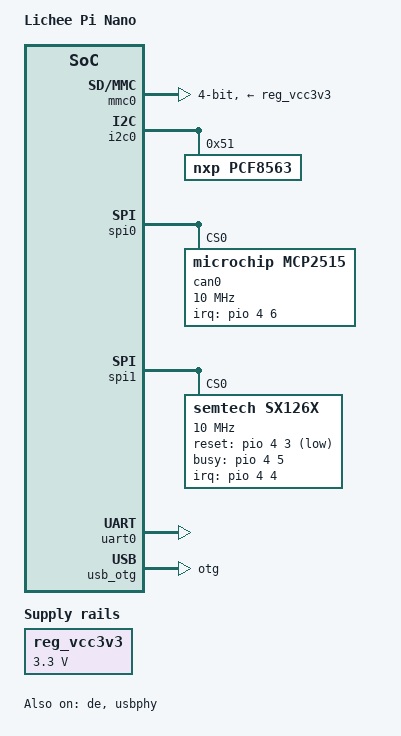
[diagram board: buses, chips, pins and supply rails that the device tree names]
// SPDX-License-Identifier: (GPL-2.0+ OR X11)
/*
 * Copyright 2023 BH1RBH <jack.tan@jackslab.org>
 */

/dts-v1/;
#include "suniv-f1c100s.dtsi"

#include <dt-bindings/gpio/gpio.h>
#include <dt-bindings/interrupt-controller/irq.h>

/ {
	model = "Lichee Pi Nano";
	compatible = "licheepi,licheepi-nano", "allwinner,suniv-f1c100s",
		     "allwinner,suniv";

	aliases {
		serial0 = &uart0;
		spi0 = &spi0;
	};

	chosen {
		stdout-path = "serial0:115200n8";
	};

	/*
	panel: panel {
		compatible = "qiaodian,qd43003c0-40", "simple-panel";
		#address-cells = <1>;
		#size-cells = <0>;
		enable-gpios = <&pio 4 6 GPIO_ACTIVE_HIGH>;

		port@0 {
			reg = <0>;
			#address-cells = <1>;
			#size-cells = <0>;

			panel_input: endpoint@0 {
				reg = <0>;
				remote-endpoint = <&tcon0_out_lcd>;
			};
		};
	};
	*/

	reg_vcc3v3: vcc3v3 {
		compatible = "regulator-fixed";
		regulator-name = "vcc3v3";
		regulator-min-microvolt = <3300000>;
		regulator-max-microvolt = <3300000>;
	};
};

&de {
	status = "okay";
};

&mmc0 {
	vmmc-supply = <&reg_vcc3v3>;
	bus-width = <4>;
	broken-cd;
	status = "okay";
};

&otg_sram {
	status = "okay";
};

&i2c0 {
	pinctrl-names = "default";
	pinctrl-0 = <&i2c0_pins>;
	status = "okay";

	pcf8563: rtc@51 {
		compatible = "nxp,pcf8563";
		reg = <0x51>;
	};
};

/*
 * PC0 -- SPI0_CLK
 * PC1 -- SPI0_CS
 * PC2 -- SPI0_MISO
 * PC3 -- SPI0_MOSI
 * PE6 -- Interrupt
 * clock-frequency = <500000> 500KHz;
*/
&spi0 {
	pinctrl-names = "default";
	pinctrl-0 = <&spi0_pins>;
	spi-max-frequency = <50000000>;
	status = "okay";

	can0: mcp2515@0 {
		compatible = "microchip,mcp2515";
		reg = <0x0>;
		clocks = <&osc24M>;
		spi-max-frequency = <10000000>;

		interrupt-parent = <&pio>;
		interrupts = <4 6 IRQ_TYPE_EDGE_RISING>;		/* PE6 */
		status = "okay";
	};
};

/*
 * PA0 -- SPI1_CS
 * PA1 -- SPI1_MOSI
 * PA2 -- SPI1_CLK
 * PA3 -- SPI1_MISO
 * PE3 -- Reset
 * PE4 -- Interrupt
 * PE5 -- LR_BUSY
*/
&spi1 {
	pinctrl-names = "default";
	pinctrl-0 = <&spi1_pins>;
	status = "okay";
	spi-max-frequency = <50000000>;

	sx126x@0 {
		#address-cells = <1>;
		#size-cells = <1>;
		spi-max-frequency = <10000000>;

		compatible = "semtech,sx126x";
		reg = <0x0>;

		reset-gpios = <&pio 4 3 GPIO_ACTIVE_LOW>;			/* PE3 */

		interrupt-parent = <&pio>;
		interrupts = <4 4 IRQ_TYPE_EDGE_RISING>;			/* PE4 / EINT3 */

		busy-gpios = <&pio 4 5 GPIO_ACTIVE_HIGH>;			/* PE5 */
	};
};

/*
&tcon0 {
	pinctrl-names = "default";
	pinctrl-0 = <&lcd_rgb666_pins>;
	status = "okay";
};

&tcon0_out {
	tcon0_out_lcd: endpoint@0 {
		reg = <0>;
		remote-endpoint = <&panel_input>;
	};
};
*/

&uart0 {
	pinctrl-names = "default";
	pinctrl-0 = <&uart0_pins>;
	status = "okay";
};

&usb_otg {
	dr_mode = "otg";
	status = "okay";
};

&usbphy {
	usb0_id_det-gpio = <&pio 4 2 GPIO_ACTIVE_HIGH>; /* PE2 */
	status = "okay";
};
